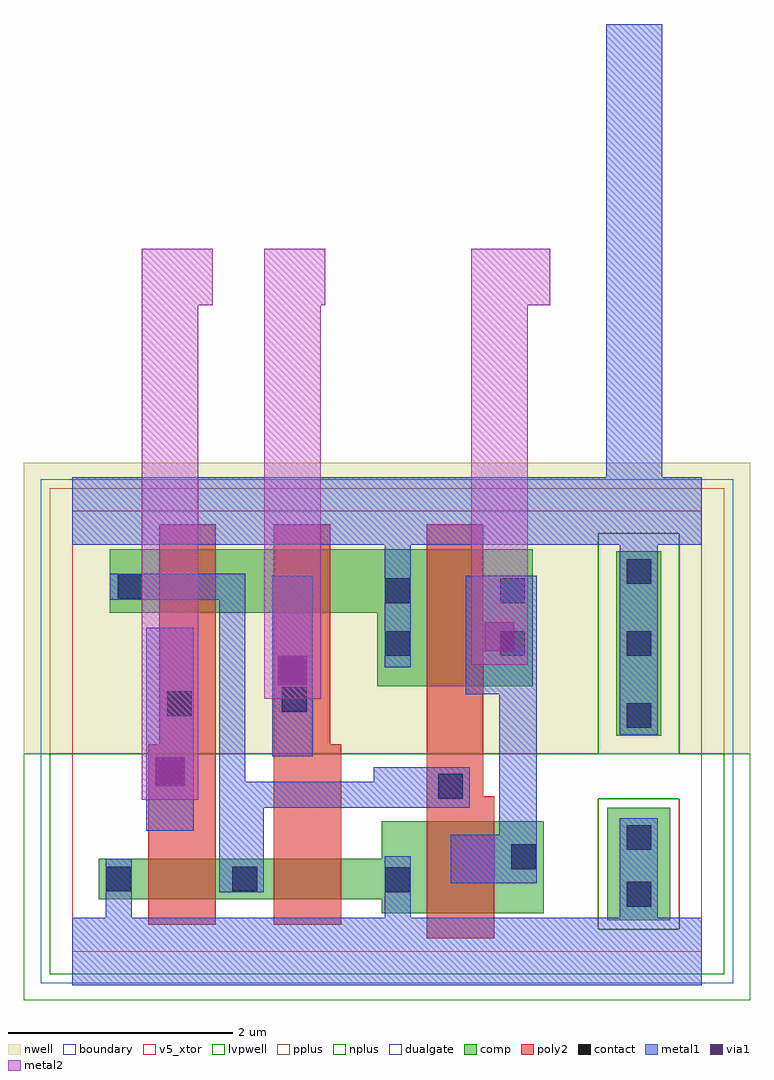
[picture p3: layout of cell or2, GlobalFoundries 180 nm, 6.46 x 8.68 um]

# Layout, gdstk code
import gdstk
lib = gdstk.Library(unit=1e-6, precision=1e-09)
def R(c, l, rs):  # rectangles x0, y0, x1, y1
    for r in rs: c.add(gdstk.rectangle(r[:2], r[2:], *l))
def A(c, l, x, y, w, h, nx, ny, dx, dy):  # array of equal rectangles
    R(c, l, [(x+i*dx, y+j*dy, x+i*dx+w, y+j*dy+h) for i in range(nx) for j in range(ny)])
def P(c, l, *ps):  # polygons
    for p in ps: c.add(gdstk.Polygon(p, *l))
boundary = (0, 0)
nwell = (21, 0)
comp = (22, 0)
poly2 = (30, 0)
pplus = (31, 0)
nplus = (32, 0)
contact = (33, 0)
metal1 = (34, 0)
via1 = (35, 0)
metal2 = (36, 0)
dualgate = (55, 0)
v5_xtor = (112, 1)
lvpwell = (204, 0)

gf180mcu_fd_sc_mcu7t5v0_ = lib.new_cell('gf180mcu_fd_sc_mcu7t5v0__or2_1')
R(gf180mcu_fd_sc_mcu7t5v0_, boundary, [(0,0,4.48,3.92)])
R(gf180mcu_fd_sc_mcu7t5v0_, nwell, [(-0.43,1.76,4.91,4.35)])
P(gf180mcu_fd_sc_mcu7t5v0_, comp, [(2.715,2.36),(2.715,3.015),(0.335,3.015),(0.335,3.58),(4.095,3.58),(4.095,2.36)],
  [(2.755,0.34),(2.755,0.465),(0.235,0.465),(0.235,0.825),(2.755,0.825),(2.755,1.16),(4.195,1.16),(4.195,0.34)])
P(gf180mcu_fd_sc_mcu7t5v0_, poly2, [(0.675,0.24),(0.675,1.845),(0.775,1.845),(0.775,3.8),(1.275,3.8),(1.275,0.24)],
  [(1.795,0.24),(1.795,3.8),(2.295,3.8),(2.295,1.845),(2.395,1.845),(2.395,0.24)],
  [(3.155,0.12),(3.155,3.8),(3.655,3.8),(3.655,1.38),(3.755,1.38),(3.755,0.12)])
R(gf180mcu_fd_sc_mcu7t5v0_, pplus, [(-0.2,1.76,4.68,4.12)])
R(gf180mcu_fd_sc_mcu7t5v0_, nplus, [(-0.2,-0.2,4.68,1.76)])
R(gf180mcu_fd_sc_mcu7t5v0_, contact, [(2.785,0.53,3.005,0.75), (0.305,0.535,0.525,0.755), (1.425,0.535,1.645,0.755), (3.905,0.735,4.125,0.955), (3.255,1.36,3.475,1.58), (0.845,2.095,1.065,2.315), (1.865,2.135,2.085,2.355), (2.785,2.63,3.005,2.85), (3.805,2.63,4.025,2.85), (2.785,3.1,3.005,3.32), (3.805,3.1,4.025,3.32), (0.405,3.135,0.625,3.355)])
R(gf180mcu_fd_sc_mcu7t5v0_, metal1, [(0.66,1.075,1.08,2.88), (1.78,1.74,2.14,3.345)])
P(gf180mcu_fd_sc_mcu7t5v0_, metal1, [(1.31,0.53),(1.31,3.13),(0.335,3.13),(0.335,3.36),(1.54,3.36),(1.54,1.51),(2.68,1.51),(2.68,1.64),(3.535,1.64),(3.535,1.28),(1.705,1.28),(1.705,0.53)],
  [(3.365,0.61),(3.365,1.04),(3.8,1.04),(3.8,2.29),(3.5,2.29),(3.5,3.345),(4.13,3.345),(4.13,0.61)],
  [(0,-0.3),(0,0.3),(0.3,0.3),(0.3,0.825),(0.53,0.825),(0.53,0.3),(2.78,0.3),(2.78,0.85),(3.01,0.85),(3.01,0.3),(4.48,0.3),(4.48,-0.3)],
  [(2.78,2.53),(2.78,3.62),(0,3.62),(0,4.22),(4.48,4.22),(4.48,3.62),(3.01,3.62),(3.01,2.53)])
R(gf180mcu_fd_sc_mcu7t5v0_, dualgate, [(-0.28,-0.28,4.76,4.2)])
R(gf180mcu_fd_sc_mcu7t5v0_, v5_xtor, [(0,0,4.48,3.92)])
R(gf180mcu_fd_sc_mcu7t5v0_, lvpwell, [(-0.43,-0.43,4.91,1.76)])

c_gf180mcu_fd_sc_mcu7t5v0_ = lib.new_cell('gf180mcu_fd_sc_mcu7t5v0__filltie')
R(c_gf180mcu_fd_sc_mcu7t5v0_, boundary, [(0,0,1.12,3.92)])
R(c_gf180mcu_fd_sc_mcu7t5v0_, nwell, [(-0.43,1.76,1.55,4.35)])
R(c_gf180mcu_fd_sc_mcu7t5v0_, comp, [(0.28,0.28,0.84,1.28), (0.36,1.92,0.76,3.56)])
R(c_gf180mcu_fd_sc_mcu7t5v0_, pplus, [(0.2,0.2,0.92,1.36)])
P(c_gf180mcu_fd_sc_mcu7t5v0_, pplus, [(-0.2,1.76),(-0.2,4.12),(1.32,4.12),(1.32,1.76),(0.92,1.76),(0.92,3.72),(0.2,3.72),(0.2,1.76)])
P(c_gf180mcu_fd_sc_mcu7t5v0_, nplus, [(-0.2,-0.2),(-0.2,1.76),(0.2,1.76),(0.2,3.72),(0.92,3.72),(0.92,1.36),(0.2,1.36),(0.2,0.2),(0.92,0.2),(0.92,3.72),(0.92,1.76),(1.32,1.76),(1.32,-0.2)])
A(c_gf180mcu_fd_sc_mcu7t5v0_, contact, 0.45, 1.99, 0.22, 0.22, 1, 3, 0, 0.64)
R(c_gf180mcu_fd_sc_mcu7t5v0_, contact, [(0.45,0.4,0.67,0.62), (0.45,0.905,0.67,1.125)])
P(c_gf180mcu_fd_sc_mcu7t5v0_, metal1, [(0,-0.3),(0,0.3),(0.39,0.3),(0.39,1.185),(0.73,1.185),(0.73,0.3),(1.12,0.3),(1.12,-0.3)],
  [(0.39,1.93),(0.39,3.62),(0,3.62),(0,4.22),(1.12,4.22),(1.12,3.62),(0.73,3.62),(0.73,1.93)])
R(c_gf180mcu_fd_sc_mcu7t5v0_, dualgate, [(-0.28,-0.28,1.4,4.2)])
R(c_gf180mcu_fd_sc_mcu7t5v0_, v5_xtor, [(0,0,1.12,3.92)])
R(c_gf180mcu_fd_sc_mcu7t5v0_, lvpwell, [(-0.43,-0.43,1.55,1.76)])

or2 = lib.new_cell('or2')
R(or2, metal1, [(4.75,3.9,5.25,8.25)])
R(or2, via1, [(0.74,1.47,1,1.73), (1.83,2.37,2.09,2.63), (3.67,2.67,3.93,2.93)])
R(or2, metal2, [(0.62,1.35,1.12,6.25), (1.71,2.25,2.21,6.25), (3.55,2.55,4.05,6.25), (0.62,5.75,1.25,6.25), (1.71,5.75,2.25,6.25), (3.55,5.75,4.25,6.25)])
or2.add(gdstk.Reference(gf180mcu_fd_sc_mcu7t5v0_, (0,0)))
or2.add(gdstk.Reference(c_gf180mcu_fd_sc_mcu7t5v0_, (4.48,0)))

lib.write_gds('or2.gds')
